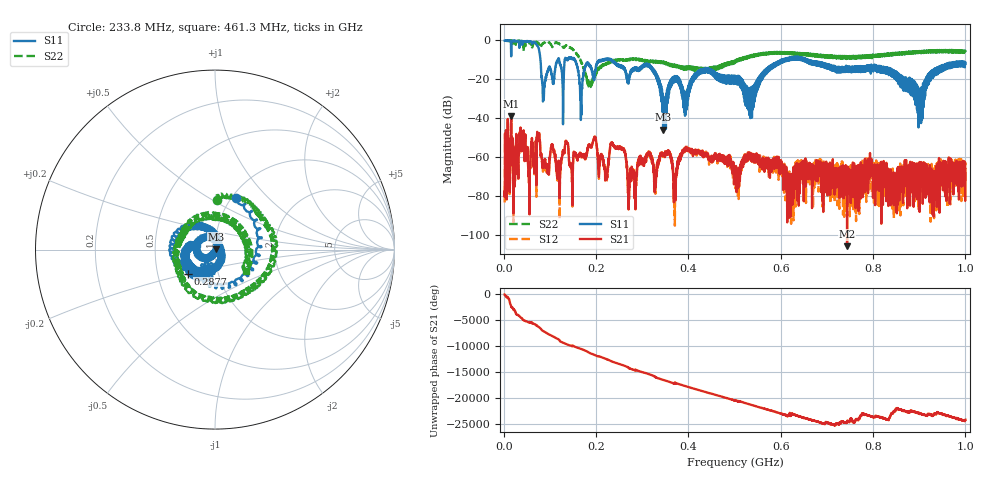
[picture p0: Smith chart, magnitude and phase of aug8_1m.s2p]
!Keysight Technologies N9923A: A.12.45
!Date: Friday, 08 August 2025 17:23:04
!Timezone: (UTC+08:00) Kuala Lumpur, Singapore
!Model: N9923A
!Serial: MY61181427
!GPS Latitude:
!GPS Longitude:
!GPS TimeStamp: 0001-01-01 00:00:00Z
!GPS Seconds Since Last Read: 0
!CHECKSUM:0722735529
!Correction: S11(ON U)S21(ON U)S12(ON U)S22(ON U)
!S2P File: Measurements:S11,S21,S12,S22:
# Hz S DB R 50
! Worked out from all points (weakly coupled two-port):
!   4001 points, 2 MHz to 1 GHz, reference 50 ohm
!   highest |S21| = -38.64 dB at 16.22 MHz (marker M1); lowest = -105.5 dB at 743.8 MHz (marker M2)
!   lowest |S11| = -45.7 dB at 345.3 MHz (marker M3), VSWR 1.01, Z = 50.5 + j0.0764 ohm
!   |S11| at or under -10 dB: 153.9 MHz to 207.7 MHz (53.86 MHz wide, 29.8 % of centre); 234.4 MHz to 601 MHz (366.6 MHz wide, 87.8 % of centre); 660.5 MHz to end of sweep (the widest 3 of 45)
!   |S22| runs from -24.4 to 0.0 dB; largest |S21 - S12| = 0.0011
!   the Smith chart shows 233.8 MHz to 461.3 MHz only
!   S11 on the Smith chart (normalised r, x): 233.8 MHz: 1.05, +0.66; 287.7 MHz: 0.71, -0.20; 461.3 MHz: 0.82, +0.05
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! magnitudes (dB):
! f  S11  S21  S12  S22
! 2 MHz  -0.1  -79.8  -83.1  0.0
! 16.22 MHz  -8.1  -38.6  -38.7  -0.2
! 70.86 MHz  -2.1  -74.2  -80.1  -0.7
! 86.83 MHz  -30.4  -64.9  -64.1  -1.3
! 150.2 MHz  -8.9  -63.5  -63.2  -4.9
! 168.4 MHz  -34.8  -58.7  -59.1  -11.3
! 196.9 MHz  -17.8  -49.7  -49.3  -19.1
! 221.6 MHz  -9.8  -68.7  -71.1  -12.0
! 233.8 MHz  -10.2  -52.8  -52.1  -11.2
! 287.7 MHz  -13.9  -68.2  -70.0  -10.1
! 334.8 MHz  -19.8  -62.6  -61.9  -11.5
! 345.3 MHz  -45.7  -58.2  -58.5  -11.1
! 370.8 MHz  -18.8  -79.3  -95.0  -12.5
! 392.2 MHz  -28.4  -55.4  -57.3  -14.3
! 461.3 MHz  -19.7  -59.8  -60.5  -13.5
! 501 MHz  -18.0  -73.5  -71.6  -11.6
! 533.4 MHz  -25.1  -58.1  -58.3  -8.1
! 667.4 MHz  -10.7  -70.8  -64.9  -7.3
! 743.8 MHz  -14.0  -105.5  -75.5  -9.2
! 833.8 MHz  -17.1  -73.7  -77.5  -7.0
! 901.4 MHz  -27.0  -75.7  -68.1  -5.6
! 1 GHz  -11.9  -65.8  -65.4  -5.9
